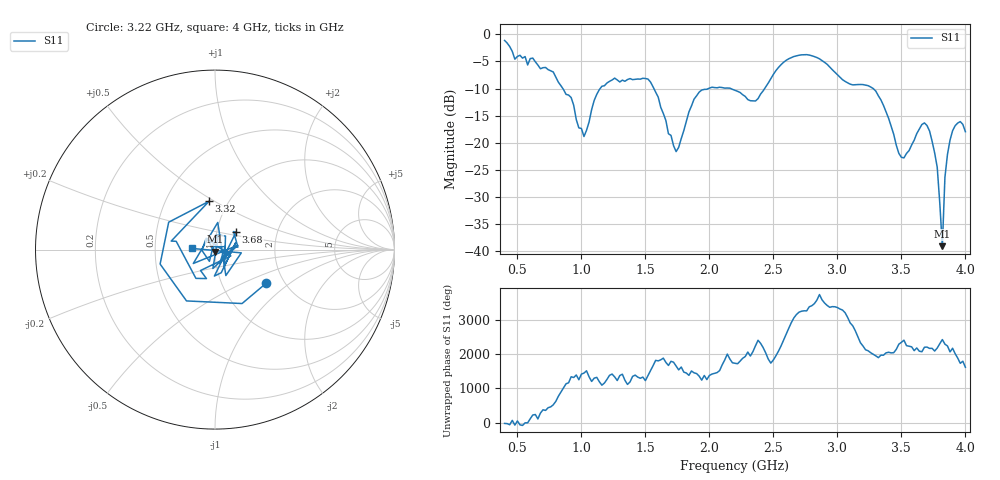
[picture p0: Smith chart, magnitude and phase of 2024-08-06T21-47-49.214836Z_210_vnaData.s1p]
!Created with skrf (http://scikit-rf.org).
# Hz S RI R 50.0
!freq ReS11 ImS11
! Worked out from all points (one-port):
!   181 points, 400 MHz to 4 GHz, reference 50 ohm
!   lowest |S11| = -39.1 dB at 3.82 GHz (marker M1), VSWR 1.02, Z = 49.9 - j1.1 ohm
!   |S11| at or under -10 dB: 855.1 MHz to 1.146 GHz (291.3 MHz wide, 29.1 % of centre); 1.566 GHz to 1.992 GHz (426.1 MHz wide, 23.9 % of centre); 3.28 GHz to end of sweep (the widest 3 of 4)
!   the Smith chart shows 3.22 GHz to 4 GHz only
!   S11 on the Smith chart (normalised r, x): 3.22 GHz: 1.61, -0.69; 3.32 GHz: 0.81, +0.47; 3.68 GHz: 1.24, +0.25; 4 GHz: 0.78, +0.01
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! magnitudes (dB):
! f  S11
! 400 MHz  -1.1
! 480 MHz  -4.6
! 620 MHz  -4.4
! 860 MHz  -10.2
! 1.02 GHz  -18.9
! 1.14 GHz  -10.2
! 1.3 GHz  -8.8
! 1.52 GHz  -8.2
! 1.74 GHz  -21.6
! 1.76 GHz  -20.8
! 1.92 GHz  -10.7
! 2.2 GHz  -10.3
! 2.36 GHz  -12.3
! 2.66 GHz  -4.1
! 2.84 GHz  -4.3
! 3.1 GHz  -9.2
! 3.22 GHz  -9.4
! 3.32 GHz  -11.3
! 3.48 GHz  -22.0
! 3.56 GHz  -21.4
! 3.68 GHz  -16.3
! 3.72 GHz  -17.8
! 3.78 GHz  -24.5
! 3.82 GHz  -39.1
! 3.84 GHz  -26.4
! 3.88 GHz  -19.5
! 3.96 GHz  -16.1
! 4 GHz  -18.0
